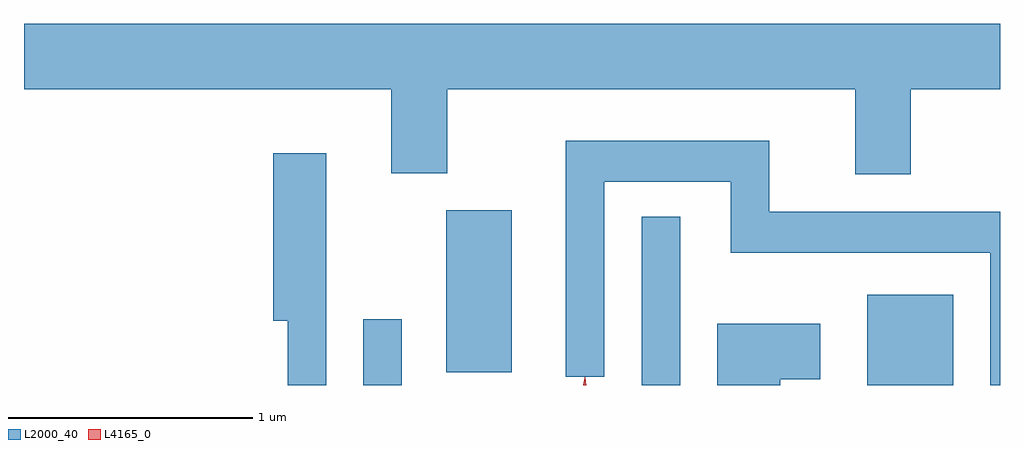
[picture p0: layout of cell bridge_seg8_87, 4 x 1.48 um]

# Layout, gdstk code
import gdstk
lib = gdstk.Library(unit=1e-6, precision=1e-09)
def R(c, l, rs):  # rectangles x0, y0, x1, y1
    for r in rs: c.add(gdstk.rectangle(r[:2], r[2:], *l))
def P(c, l, *ps):  # polygons
    for p in ps: c.add(gdstk.Polygon(p, *l))
L2000_40 = (2000, 40)
L4165_0 = (4165, 0)

bridge_seg8_87 = lib.new_cell('bridge_seg8_87')
R(bridge_seg8_87, L2000_40, [(1588.366,1806.342,1588.524,1806.613), (1589.506,1806.342,1589.664,1807.033), (1590.431,1806.342,1590.784,1806.714), (1588.706,1806.396,1588.974,1807.059)])
P(bridge_seg8_87, L2000_40, [(1590.609,1807.556),(1590.975,1807.556),(1590.975,1807.824),(1586.975,1807.824),(1586.975,1807.556),(1588.481,1807.556),(1588.481,1807.211),(1588.709,1807.211),(1588.709,1807.556),(1590.381,1807.556),(1590.381,1807.206),(1590.609,1807.206)],
  [(1590.975,1807.054),(1590.029,1807.054),(1590.029,1807.344),(1589.196,1807.344),(1589.196,1806.378),(1589.354,1806.378),(1589.354,1807.176),(1589.871,1807.176),(1589.871,1806.886),(1590.936,1806.886),(1590.936,1806.342),(1590.975,1806.342)],
  [(1588.214,1807.294),(1587.996,1807.294),(1587.996,1806.606),(1588.056,1806.606),(1588.056,1806.342),(1588.214,1806.342)],
  [(1590.074,1806.366),(1590.239,1806.366),(1590.239,1806.594),(1589.816,1806.594),(1589.816,1806.342),(1590.074,1806.342)])
P(bridge_seg8_87, L4165_0, [(1589.268,1806.342),(1589.273,1806.372),(1589.273,1806.373),(1589.274,1806.372),(1589.278,1806.342)],
  [(1589.27,1806.342),(1589.274,1806.376),(1589.275,1806.376),(1589.28,1806.342)])

lib.write_gds('bridge_seg8_87.gds')
